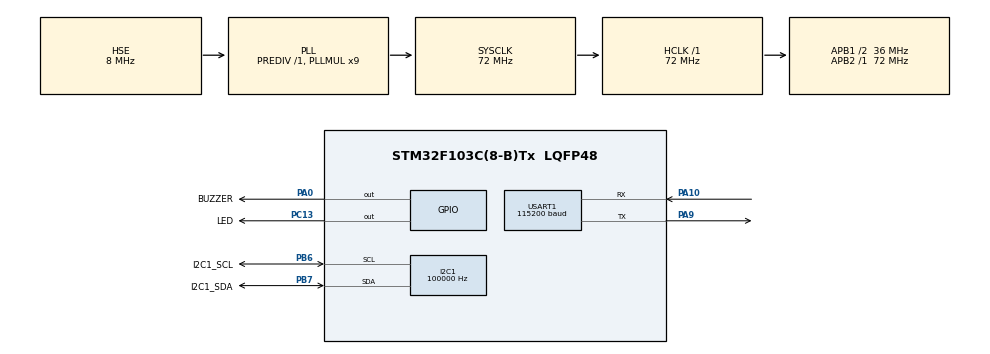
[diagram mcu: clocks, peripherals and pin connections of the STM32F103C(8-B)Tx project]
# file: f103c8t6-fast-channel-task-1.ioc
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Dma.Request0=USART1_TX
Dma.USART1_TX.0.Direction=DMA_MEMORY_TO_PERIPH
Dma.USART1_TX.0.Instance=DMA1_Channel4
Dma.USART1_TX.0.MemDataAlignment=DMA_MDATAALIGN_BYTE
Dma.USART1_TX.0.MemInc=DMA_MINC_ENABLE
Dma.USART1_TX.0.Mode=DMA_NORMAL
Dma.USART1_TX.0.PeriphDataAlignment=DMA_PDATAALIGN_BYTE
Dma.USART1_TX.0.PeriphInc=DMA_PINC_DISABLE
Dma.USART1_TX.0.Priority=DMA_PRIORITY_LOW
FREERTOS.Tasks01=defaultTask,24,768,StartDefaultTask,Default,NULL,Dynamic,NULL,NULL
FREERTOS.configTOTAL_HEAP_SIZE=5120
FREERTOS.configUSE_TIMERS=0
I2C1.ClockSpeed=100000
Mcu.Family=STM32F1
Mcu.Name=STM32F103C(8-B)Tx
Mcu.Package=LQFP48
NVIC.DMA1_Channel4_IRQn=true\:5\:0\:false\:false\:true\:true\:false\:true\:true
NVIC.PriorityGroup=NVIC_PRIORITYGROUP_4
NVIC.USART1_IRQn=true\:5\:0\:false\:false\:true\:true\:true\:true\:true
PA0-WKUP.GPIO_Label=BUZZER
PA0-WKUP.GPIO_ModeDefaultOutputPP=GPIO_MODE_OUTPUT_PP
PA0-WKUP.GPIO_PuPd=GPIO_NOPULL
PA0-WKUP.GPIO_Speed=GPIO_SPEED_FREQ_LOW
PA0-WKUP.PinState=GPIO_PIN_SET
PA0-WKUP.Signal=GPIO_Output
PA10.Mode=Asynchronous
PA10.Signal=USART1_RX
PA13.Mode=Serial_Wire
PA13.Signal=SYS_JTMS-SWDIO
PA14.Mode=Serial_Wire
PA14.Signal=SYS_JTCK-SWCLK
PA9.Mode=Asynchronous
PA9.Signal=USART1_TX
PB6.GPIO_Label=I2C1_SCL
PB6.GPIO_Mode=GPIO_MODE_AF_OD
PB6.GPIO_PuPd=GPIO_NOPULL
PB6.GPIO_Speed=GPIO_SPEED_FREQ_LOW
PB6.Mode=I2C
PB6.Signal=I2C1_SCL
PB7.GPIO_Label=I2C1_SDA
PB7.GPIO_Mode=GPIO_MODE_AF_OD
PB7.GPIO_PuPd=GPIO_NOPULL
PB7.GPIO_Speed=GPIO_SPEED_FREQ_LOW
PB7.Mode=I2C
PB7.Signal=I2C1_SDA
PC13-TAMPER-RTC.GPIO_Label=LED
PC13-TAMPER-RTC.GPIO_ModeDefaultOutputPP=GPIO_MODE_OUTPUT_PP
PC13-TAMPER-RTC.GPIO_PuPd=GPIO_NOPULL
PC13-TAMPER-RTC.GPIO_Speed=GPIO_SPEED_FREQ_LOW
PC13-TAMPER-RTC.PinState=GPIO_PIN_SET
PC13-TAMPER-RTC.Signal=GPIO_Output
PD0-OSC_IN.Mode=HSE-External-Oscillator
PD0-OSC_IN.Signal=RCC_OSC_IN
PD1-OSC_OUT.Mode=HSE-External-Oscillator
PD1-OSC_OUT.Signal=RCC_OSC_OUT
ProjectManager.HeapSize=0x200
ProjectManager.StackSize=0x400
ProjectManager.TargetToolchain=CMake
RCC.ADCPresc=RCC_ADCPCLK2_DIV6
RCC.AHBFreq_Value=72000000
RCC.APB1CLKDivider=RCC_HCLK_DIV2
RCC.APB1Freq_Value=36000000
RCC.APB1TimFreq_Value=72000000
RCC.APB2Freq_Value=72000000
RCC.APB2TimFreq_Value=72000000
RCC.HCLKFreq_Value=72000000
RCC.PLLMUL=RCC_PLL_MUL9
RCC.PLLSourceVirtual=RCC_PLLSOURCE_HSE
RCC.SYSCLKFreq_VALUE=72000000
RCC.SYSCLKSource=RCC_SYSCLKSOURCE_PLLCLK
RCC.USBFreq_Value=72000000
USART1.BaudRate=115200
USART1.VirtualMode=VM_ASYNC
VP_CRC_VS_CRC.Mode=CRC_Activate
VP_FREERTOS_VS_CMSIS_V2.Mode=CMSIS_V2
board=custom

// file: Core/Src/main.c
/* USER CODE BEGIN Header */
/**
  ******************************************************************************
  * @file           : main.c
  * @brief          : Main program body
  ******************************************************************************
  * @attention
  *
  * Copyright (c) 2026 STMicroelectronics.
  * All rights reserved.
  *
  * This software is licensed under terms that can be found in the LICENSE file
  * in the root directory of this software component.
  * If no LICENSE file comes with this software, it is provided AS-IS.
  *
  ******************************************************************************
  */
/* USER CODE END Header */
#include "main.h"
#include "cmsis_os.h"
#include "crc.h"
#include "dma.h"
#include "i2c.h"
#include "usart.h"
#include "gpio.h"

/* USER CODE BEGIN Includes */
#include "app_fast_channel.h"
#include "system_delay.h"
#include "system_log.h"
#if defined(SYS_LOG_USE_RTT)
#include "system_log_rtt.h"
#endif
/* USER CODE END Includes */

/* USER CODE BEGIN PV */
#if defined(SYS_LOG_USE_RTT)
static system_log_rtt_t s_log_rtt;
#endif
/* USER CODE END PV */

void SystemClock_Config(void);
void MX_FREERTOS_Init(void);

int main(void)
{

  /* MCU Configuration--------------------------------------------------------*/

  /* Reset of all peripherals, Initializes the Flash interface and the Systick. */
  HAL_Init();

  /* Configure the system clock */
  SystemClock_Config();

  /* Initialize all configured peripherals */
  MX_GPIO_Init();
  MX_DMA_Init();
  MX_CRC_Init();
  MX_I2C1_Init();
  MX_USART1_UART_Init();
  /* USER CODE BEGIN 2 */
  Sys_Delay_Init();
#if defined(SYS_LOG_USE_RTT)
  Sys_Log_RTT_Init(&s_log_rtt, "rtt", 0u);
  Sys_Log_Init(&s_log_rtt.base);
  Sys_Log_SetLevel(SYS_LOG_LEVEL_INFO);
  SYS_LOG_INFO("BOOT", "F103C8T6 system initialized at %lu Hz",
               (unsigned long)SystemCoreClock);
#endif
  platform_status_t app_status = App_FastChannel_Init();
  if (app_status != PLATFORM_STATUS_OK)
  {
    SYS_LOG_ERROR(
      "BOOT",
      "application initialization failed: %u",
      (unsigned int)app_status
    );
    Error_Handler();
  }
  /* USER CODE END 2 */

  /* Init scheduler */
  osKernelInitialize();  /* Call init function for freertos objects (in cmsis_os2.c) */
  MX_FREERTOS_Init();

  /* Start scheduler */
  osKernelStart();

  /* We should never get here as control is now taken by the scheduler */

  /* Infinite loop */
  while (1)
  {

  }
}

void SystemClock_Config(void)
{
  RCC_OscInitTypeDef RCC_OscInitStruct = {0};
  RCC_ClkInitTypeDef RCC_ClkInitStruct = {0};

  /** Initializes the RCC Oscillators according to the specified parameters
  * in the RCC_OscInitTypeDef structure.
  */
  RCC_OscInitStruct.OscillatorType = RCC_OSCILLATORTYPE_HSE;
  RCC_OscInitStruct.HSEState = RCC_HSE_ON;
  RCC_OscInitStruct.HSEPredivValue = RCC_HSE_PREDIV_DIV1;
  RCC_OscInitStruct.HSIState = RCC_HSI_ON;
  RCC_OscInitStruct.PLL.PLLState = RCC_PLL_ON;
  RCC_OscInitStruct.PLL.PLLSource = RCC_PLLSOURCE_HSE;
  RCC_OscInitStruct.PLL.PLLMUL = RCC_PLL_MUL9;
  if (HAL_RCC_OscConfig(&RCC_OscInitStruct) != HAL_OK)
  {
    Error_Handler();
  }

  /** Initializes the CPU, AHB and APB buses clocks
  */
  RCC_ClkInitStruct.ClockType = RCC_CLOCKTYPE_HCLK|RCC_CLOCKTYPE_SYSCLK
                              |RCC_CLOCKTYPE_PCLK1|RCC_CLOCKTYPE_PCLK2;
  RCC_ClkInitStruct.SYSCLKSource = RCC_SYSCLKSOURCE_PLLCLK;
  RCC_ClkInitStruct.AHBCLKDivider = RCC_SYSCLK_DIV1;
  RCC_ClkInitStruct.APB1CLKDivider = RCC_HCLK_DIV2;
  RCC_ClkInitStruct.APB2CLKDivider = RCC_HCLK_DIV1;

  if (HAL_RCC_ClockConfig(&RCC_ClkInitStruct, FLASH_LATENCY_2) != HAL_OK)
  {
    Error_Handler();
  }
}

void Error_Handler(void)
{
  __disable_irq();
  while (1)
  {
  }
}

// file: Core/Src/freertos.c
/* USER CODE BEGIN Header */
/**
  ******************************************************************************
  * File Name          : freertos.c
  * Description        : Code for freertos applications
  ******************************************************************************
  * @attention
  *
  * Copyright (c) 2026 STMicroelectronics.
  * All rights reserved.
  *
  * This software is licensed under terms that can be found in the LICENSE file
  * in the root directory of this software component.
  * If no LICENSE file comes with this software, it is provided AS-IS.
  *
  ******************************************************************************
  */
/* USER CODE END Header */

#include "FreeRTOS.h"
#include "task.h"
#include "main.h"
#include "cmsis_os.h"

/* USER CODE BEGIN Includes */
#include "rtos_app.h"
#include "system_log.h"
#if defined(F103_TEST)
#include "f103_hardware_test.h"
#include "f103_selftest.h"
#endif
/* USER CODE END Includes */

/* Definitions for defaultTask */
osThreadId_t defaultTaskHandle;
const osThreadAttr_t defaultTask_attributes = {
  .name = "defaultTask",
  .stack_size = 768 * 4,
  .priority = (osPriority_t) osPriorityNormal,
};

void StartDefaultTask(void *argument);

void MX_FREERTOS_Init(void); /* (MISRA C 2004 rule 8.1) */

void MX_FREERTOS_Init(void) {

  /* Create the thread(s) */
  /* creation of defaultTask */
  defaultTaskHandle = osThreadNew(StartDefaultTask, NULL, &defaultTask_attributes);

  /* USER CODE BEGIN RTOS_THREADS */
  if (defaultTaskHandle == NULL || !RTOS_App_CreateTasks())
  {
    SYS_LOG_ERROR("RTOS", "ImuEkfTask creation failed");
    Error_Handler();
  }
  /* USER CODE END RTOS_THREADS */

}

void StartDefaultTask(void *argument)
{
  /* USER CODE BEGIN StartDefaultTask */
  RTOS_App_TelemetryTask(argument);
  /* USER CODE END StartDefaultTask */
}
